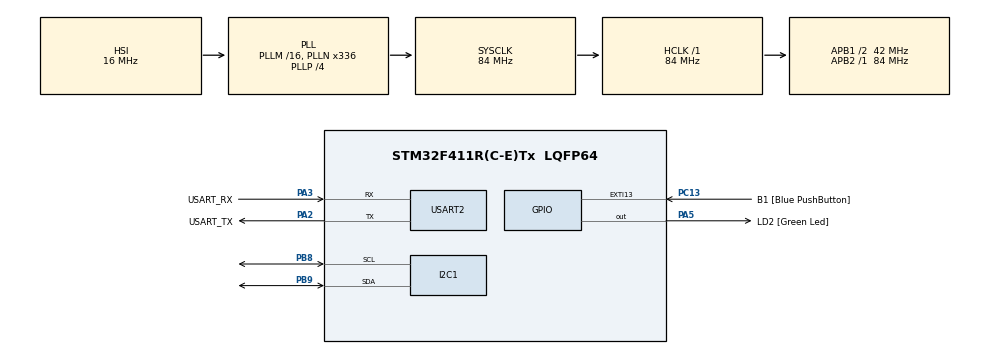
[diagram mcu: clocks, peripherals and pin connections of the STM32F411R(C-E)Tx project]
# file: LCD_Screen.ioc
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Mcu.Family=STM32F4
Mcu.Name=STM32F411R(C-E)Tx
Mcu.Package=LQFP64
NVIC.PriorityGroup=NVIC_PRIORITYGROUP_0
NVIC.TIM1_BRK_TIM9_IRQn=true\:0\:0\:false\:false\:true\:true\:true\:true
NVIC.TIM2_IRQn=true\:0\:0\:false\:false\:true\:true\:true\:true
PA13.GPIO_Label=TMS
PA13.Mode=Serial_Wire
PA13.Signal=SYS_JTMS-SWDIO
PA14.GPIO_Label=TCK
PA14.Mode=Serial_Wire
PA14.Signal=SYS_JTCK-SWCLK
PA2.GPIO_Label=USART_TX
PA2.Mode=Asynchronous
PA2.Signal=USART2_TX
PA3.GPIO_Label=USART_RX
PA3.Mode=Asynchronous
PA3.Signal=USART2_RX
PA5.GPIO_Label=LD2 [Green Led]
PA5.Signal=GPIO_Output
PB3.GPIO_Label=SWO
PB3.Signal=SYS_JTDO-SWO
PB8.Mode=I2C
PB8.Signal=I2C1_SCL
PB9.Mode=I2C
PB9.Signal=I2C1_SDA
PC13-ANTI_TAMP.GPIO_Label=B1 [Blue PushButton]
PC13-ANTI_TAMP.GPIO_ModeDefaultEXTI=GPIO_MODE_IT_FALLING
PC13-ANTI_TAMP.Signal=GPXTI13
PC14-OSC32_IN.Mode=LSE-External-Oscillator
PC14-OSC32_IN.Signal=RCC_OSC32_IN
PC15-OSC32_OUT.Mode=LSE-External-Oscillator
PC15-OSC32_OUT.Signal=RCC_OSC32_OUT
PH0\ -\ OSC_IN.Mode=HSE-External-Clock-Source
PH0\ -\ OSC_IN.Signal=RCC_OSC_IN
PH1\ -\ OSC_OUT.Mode=HSE-External-Clock-Source
PH1\ -\ OSC_OUT.Signal=RCC_OSC_OUT
ProjectManager.HeapSize=0x200
ProjectManager.StackSize=0x400
ProjectManager.TargetToolchain=STM32CubeIDE
RCC.48MHZClocksFreq_Value=84000000
RCC.AHBFreq_Value=84000000
RCC.APB1CLKDivider=RCC_HCLK_DIV2
RCC.APB1Freq_Value=42000000
RCC.APB1TimFreq_Value=84000000
RCC.APB2Freq_Value=84000000
RCC.APB2TimFreq_Value=84000000
RCC.CortexFreq_Value=84000000
RCC.FLatency-AdvancedSettings=FLASH_LATENCY_2
RCC.HCLKFreq_Value=84000000
RCC.HSE_VALUE=8000000
RCC.HSI_VALUE=16000000
RCC.PLLN=336
RCC.PLLP=RCC_PLLP_DIV4
RCC.SYSCLKFreq_VALUE=84000000
RCC.SYSCLKSource=RCC_SYSCLKSOURCE_PLLCLK
RCC.VCOOutputFreq_Value=336000000
TIM2.Period=4294967296-1
TIM2.Prescaler=84-1
TIM9.Period=2000-1
TIM9.Prescaler=42000-1
USART2.VirtualMode=VM_ASYNC
VP_TIM2_VS_ClockSourceINT.Mode=Internal
VP_TIM9_VS_ClockSourceINT.Mode=Internal
board=NUCLEO-F411RE

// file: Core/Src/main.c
/* USER CODE BEGIN Header */
/**
  ******************************************************************************
  * @file           : main.c
  * @brief          : Main program body
  ******************************************************************************
  * @attention
  *
  * Copyright (c) 2023 STMicroelectronics.
  * All rights reserved.
  *
  * This software is licensed under terms that can be found in the LICENSE file
  * in the root directory of this software component.
  * If no LICENSE file comes with this software, it is provided AS-IS.
  *
  ******************************************************************************
  */
/* USER CODE END Header */
#include "main.h"

/* USER CODE BEGIN Includes */
#include <stdio.h>
#include "lcd.h"
/* USER CODE END Includes */

/* USER CODE BEGIN PTD */
UART_HandleTypeDef huart2;
/* USER CODE END PTD */

/* USER CODE BEGIN PD */
#ifdef __GNUC__
#define PUTCHAR_PROTOTYPE int __io_putchar(int ch)
#else
#define PUTCHAR_PROTOTYPE int fputc(int ch, FILE *f)
#endif
PUTCHAR_PROTOTYPE
{
HAL_UART_Transmit(&huart2, (uint8_t *)&ch, 1, HAL_MAX_DELAY);
return ch;
}
/* USER CODE END PD */

I2C_HandleTypeDef hi2c1;

TIM_HandleTypeDef htim2;
TIM_HandleTypeDef htim9;

UART_HandleTypeDef huart2;

/* USER CODE BEGIN PV */
char str[41] = { '\0'};
TextLCDType lcd;

struct clock_data
{
	//add clock variables
	uint8_t hrs;
	uint8_t min;
	uint8_t sec;
};

int flag = 0;
/* USER CODE END PV */

void SystemClock_Config(void);
static void MX_GPIO_Init(void);
static void MX_USART2_UART_Init(void);
static void MX_TIM9_Init(void);
static void MX_I2C1_Init(void);
static void MX_TIM2_Init(void);
/* USER CODE BEGIN PFP */
void cd_set(struct clock_data * pcd,
			uint8_t				hrs,
			uint8_t				min,
			uint8_t				sec);
void cd_tick(struct clock_data * pcd);
void uart_print_cd(UART_HandleTypeDef * huart,
				   struct clock_data * pcd);
int wait_for_button_press();
void convert_time_to_str(struct clock_data * pcd);
/* USER CODE END PFP */

/* USER CODE BEGIN 0 */
void HAL_TIM_PeriodElapsedCallback(TIM_HandleTypeDef *htim){
	flag = 1;
}
void cd_set(struct clock_data * pcd,
			uint8_t				hrs,
			uint8_t				min,
			uint8_t				sec){
	pcd->hrs = hrs;
	pcd->min = min;
	pcd->sec = sec;
}
void uart_print_cd(UART_HandleTypeDef * huart,
				   struct clock_data * pcd){
	/*
	printf("%d", pcd->hrs);
	printf(":");
	printf("%d", pcd->min);
	printf(":");
	printf("%d", pcd->sec);
	printf("\r\n");
	*/
	uint16_t str_len;
	char str[41] = { '\0'};
	str_len = sprintf(str, "%02d:%02d:%02d \r", pcd->hrs, pcd->min, pcd->sec);
	HAL_UART_Transmit(&huart2, (uint8_t *)&str, str_len, HAL_MAX_DELAY);
}
void cd_tick(struct clock_data * pcd){

	pcd->sec++;

	if (pcd->sec > 59){
		pcd->sec = 0;
		pcd->min++;
	}
	if (pcd->min > 59){
		pcd->min = 0;
		pcd->hrs++;
	}
	if (pcd->hrs > 23){
		pcd->hrs = 0;
	}

}
int wait_for_button_press(){
	int b1_pressed;
	while(!(b1_pressed = GPIO_PIN_RESET
			== HAL_GPIO_ReadPin(B1_GPIO_Port, B1_Pin)))
	{
		//do nothing
	}
	while((b1_pressed = GPIO_PIN_RESET
				== HAL_GPIO_ReadPin(B1_GPIO_Port, B1_Pin)))
	{
		//do nothing
	}
}

void convert_time_to_str(struct clock_data * pcd)
{
	uint16_t str_len;
	str_len = sprintf(str, "%02d:%02d:%02d", pcd->hrs, pcd->min, pcd->sec);
}
/* USER CODE END 0 */

int main(void)
{

  /* MCU Configuration--------------------------------------------------------*/

  /* Reset of all peripherals, Initializes the Flash interface and the Systick. */
  HAL_Init();

  /* Configure the system clock */
  SystemClock_Config();

  /* Initialize all configured peripherals */
  MX_GPIO_Init();
  MX_USART2_UART_Init();
  MX_TIM9_Init();
  MX_I2C1_Init();
  MX_TIM2_Init();
  /* USER CODE BEGIN 2 */
  TextLCD_Init(&lcd, &hi2c1, 0x4E);
  HAL_TIM_Base_Start_IT(&htim9);
  struct clock_data my_clock;
  cd_set(&my_clock, 23, 59, 45);
  /* USER CODE END 2 */

  /* Infinite loop */
  /* USER CODE BEGIN WHILE */
  //TextLCD_SendByte(&lcd, 0x0F, 0);
  TextLCD_Position(&lcd, 8, 1);
  while (1)
  {
	  convert_time_to_str(&my_clock);
	  if(flag){
		  TextLCD_PutStr(&lcd, str);
		  flag = 0;
		  cd_tick(&my_clock);
		  TextLCD_Position(&lcd, 8, 1);
	  }
    /* USER CODE END WHILE */

  }
}

void SystemClock_Config(void)
{
  RCC_OscInitTypeDef RCC_OscInitStruct = {0};
  RCC_ClkInitTypeDef RCC_ClkInitStruct = {0};

  /** Configure the main internal regulator output voltage
  */
  __HAL_RCC_PWR_CLK_ENABLE();
  __HAL_PWR_VOLTAGESCALING_CONFIG(PWR_REGULATOR_VOLTAGE_SCALE1);

  /** Initializes the RCC Oscillators according to the specified parameters
  * in the RCC_OscInitTypeDef structure.
  */
  RCC_OscInitStruct.OscillatorType = RCC_OSCILLATORTYPE_HSI;
  RCC_OscInitStruct.HSIState = RCC_HSI_ON;
  RCC_OscInitStruct.HSICalibrationValue = RCC_HSICALIBRATION_DEFAULT;
  RCC_OscInitStruct.PLL.PLLState = RCC_PLL_ON;
  RCC_OscInitStruct.PLL.PLLSource = RCC_PLLSOURCE_HSI;
  RCC_OscInitStruct.PLL.PLLM = 16;
  RCC_OscInitStruct.PLL.PLLN = 336;
  RCC_OscInitStruct.PLL.PLLP = RCC_PLLP_DIV4;
  RCC_OscInitStruct.PLL.PLLQ = 4;
  if (HAL_RCC_OscConfig(&RCC_OscInitStruct) != HAL_OK)
  {
    Error_Handler();
  }

  /** Initializes the CPU, AHB and APB buses clocks
  */
  RCC_ClkInitStruct.ClockType = RCC_CLOCKTYPE_HCLK|RCC_CLOCKTYPE_SYSCLK
                              |RCC_CLOCKTYPE_PCLK1|RCC_CLOCKTYPE_PCLK2;
  RCC_ClkInitStruct.SYSCLKSource = RCC_SYSCLKSOURCE_PLLCLK;
  RCC_ClkInitStruct.AHBCLKDivider = RCC_SYSCLK_DIV1;
  RCC_ClkInitStruct.APB1CLKDivider = RCC_HCLK_DIV2;
  RCC_ClkInitStruct.APB2CLKDivider = RCC_HCLK_DIV1;

  if (HAL_RCC_ClockConfig(&RCC_ClkInitStruct, FLASH_LATENCY_2) != HAL_OK)
  {
    Error_Handler();
  }
}

static void MX_I2C1_Init(void)
{

  hi2c1.Instance = I2C1;
  hi2c1.Init.ClockSpeed = 100000;
  hi2c1.Init.DutyCycle = I2C_DUTYCYCLE_2;
  hi2c1.Init.OwnAddress1 = 0;
  hi2c1.Init.AddressingMode = I2C_ADDRESSINGMODE_7BIT;
  hi2c1.Init.DualAddressMode = I2C_DUALADDRESS_DISABLE;
  hi2c1.Init.OwnAddress2 = 0;
  hi2c1.Init.GeneralCallMode = I2C_GENERALCALL_DISABLE;
  hi2c1.Init.NoStretchMode = I2C_NOSTRETCH_DISABLE;
  if (HAL_I2C_Init(&hi2c1) != HAL_OK)
  {
    Error_Handler();
  }

}

static void MX_TIM2_Init(void)
{

  TIM_ClockConfigTypeDef sClockSourceConfig = {0};
  TIM_MasterConfigTypeDef sMasterConfig = {0};

  htim2.Instance = TIM2;
  htim2.Init.Prescaler = 84-1;
  htim2.Init.CounterMode = TIM_COUNTERMODE_UP;
  htim2.Init.Period = 4294967296-1;
  htim2.Init.ClockDivision = TIM_CLOCKDIVISION_DIV1;
  htim2.Init.AutoReloadPreload = TIM_AUTORELOAD_PRELOAD_DISABLE;
  if (HAL_TIM_Base_Init(&htim2) != HAL_OK)
  {
    Error_Handler();
  }
  sClockSourceConfig.ClockSource = TIM_CLOCKSOURCE_INTERNAL;
  if (HAL_TIM_ConfigClockSource(&htim2, &sClockSourceConfig) != HAL_OK)
  {
    Error_Handler();
  }
  sMasterConfig.MasterOutputTrigger = TIM_TRGO_RESET;
  sMasterConfig.MasterSlaveMode = TIM_MASTERSLAVEMODE_DISABLE;
  if (HAL_TIMEx_MasterConfigSynchronization(&htim2, &sMasterConfig) != HAL_OK)
  {
    Error_Handler();
  }

}

static void MX_TIM9_Init(void)
{

  TIM_ClockConfigTypeDef sClockSourceConfig = {0};

  htim9.Instance = TIM9;
  htim9.Init.Prescaler = 42000-1;
  htim9.Init.CounterMode = TIM_COUNTERMODE_UP;
  htim9.Init.Period = 2000-1;
  htim9.Init.ClockDivision = TIM_CLOCKDIVISION_DIV1;
  htim9.Init.AutoReloadPreload = TIM_AUTORELOAD_PRELOAD_DISABLE;
  if (HAL_TIM_Base_Init(&htim9) != HAL_OK)
  {
    Error_Handler();
  }
  sClockSourceConfig.ClockSource = TIM_CLOCKSOURCE_INTERNAL;
  if (HAL_TIM_ConfigClockSource(&htim9, &sClockSourceConfig) != HAL_OK)
  {
    Error_Handler();
  }

}

static void MX_USART2_UART_Init(void)
{

  huart2.Instance = USART2;
  huart2.Init.BaudRate = 115200;
  huart2.Init.WordLength = UART_WORDLENGTH_8B;
  huart2.Init.StopBits = UART_STOPBITS_1;
  huart2.Init.Parity = UART_PARITY_NONE;
  huart2.Init.Mode = UART_MODE_TX_RX;
  huart2.Init.HwFlowCtl = UART_HWCONTROL_NONE;
  huart2.Init.OverSampling = UART_OVERSAMPLING_16;
  if (HAL_UART_Init(&huart2) != HAL_OK)
  {
    Error_Handler();
  }

}

static void MX_GPIO_Init(void)
{
  GPIO_InitTypeDef GPIO_InitStruct = {0};

  /* GPIO Ports Clock Enable */
  __HAL_RCC_GPIOC_CLK_ENABLE();
  __HAL_RCC_GPIOH_CLK_ENABLE();
  __HAL_RCC_GPIOA_CLK_ENABLE();
  __HAL_RCC_GPIOB_CLK_ENABLE();

  /*Configure GPIO pin Output Level */
  HAL_GPIO_WritePin(LD2_GPIO_Port, LD2_Pin, GPIO_PIN_RESET);

  /*Configure GPIO pin : B1_Pin */
  GPIO_InitStruct.Pin = B1_Pin;
  GPIO_InitStruct.Mode = GPIO_MODE_IT_FALLING;
  GPIO_InitStruct.Pull = GPIO_NOPULL;
  HAL_GPIO_Init(B1_GPIO_Port, &GPIO_InitStruct);

  /*Configure GPIO pin : LD2_Pin */
  GPIO_InitStruct.Pin = LD2_Pin;
  GPIO_InitStruct.Mode = GPIO_MODE_OUTPUT_PP;
  GPIO_InitStruct.Pull = GPIO_NOPULL;
  GPIO_InitStruct.Speed = GPIO_SPEED_FREQ_LOW;
  HAL_GPIO_Init(LD2_GPIO_Port, &GPIO_InitStruct);

}

void Error_Handler(void)
{
  __disable_irq();
  while (1)
  {
  }
}
